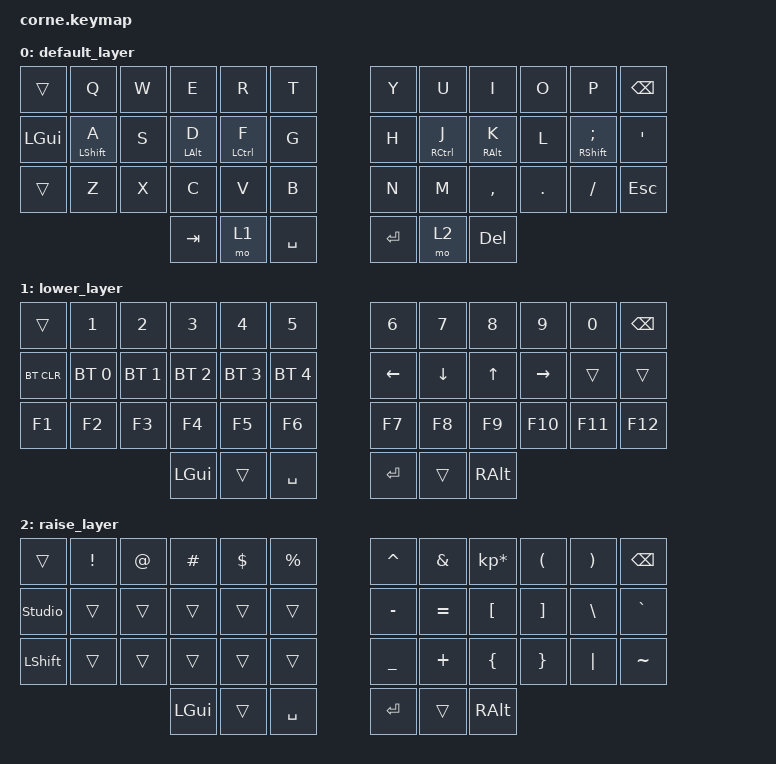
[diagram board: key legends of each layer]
/*
 * Copyright (c) 2020 The ZMK Contributors
 *
 * SPDX-License-Identifier: MIT
 */

#include <behaviors.dtsi>
#include <dt-bindings/zmk/keys.h>
#include <dt-bindings/zmk/bt.h>

/
{
    behaviors {
            hml: home_row_mod_left {
                compatible = "zmk,behavior-hold-tap";
                #binding-cells = <2>;
                flavor = "balanced";
                require-prior-idle-ms = <150>;
                tapping-term-ms = <280>;
                quick-tap-ms = <175>;
                bindings = <&kp>, <&kp>;
                hold-trigger-on-release;
            };
            hmr: home_row_mod_right {
                compatible = "zmk,behavior-hold-tap";
                #binding-cells = <2>;
                flavor = "balanced";
                require-prior-idle-ms = <150>;
                tapping-term-ms = <280>;
                quick-tap-ms = <175>;
                bindings = <&kp>, <&kp>;
                hold-trigger-on-release;
            };
        };
    keymap
    {
        compatible = "zmk,keymap";

        default_layer
        {
            // -----------------------------------------------------------------------------------------
            // |  TAB |  Q  |  W  |  E  |  R  |  T  |   |  Y  |  U   |  I  |  O  |  P  | BKSP |
            // | CTRL |  A  |  S  |  D  |  F  |  G  |   |  H  |  J   |  K  |  L  |  ;  |  '   |
            // | SHFT |  Z  |  X  |  C  |  V  |  B  |   |  N  |  M   |  ,  |  .  |  /  | ESC  |
            //                    | GUI | LWR | SPC |   | ENT | RSE  | ALT |
            bindings = <
                &trans &kp Q &kp W &kp E &kp R &kp T &kp Y &kp U &kp I &kp O &kp P &kp BSPC 
                &kp LGUI &hml LSHIFT A &kp S &hml LALT D &hml LCTRL F &kp G &kp H &hmr RCTRL J &hmr RALT K &kp L &hmr RSHIFT SEMI &kp SQT 
                &trans &kp Z &kp X &kp C &kp V &kp B &kp N &kp M &kp COMMA &kp DOT &kp FSLH &kp ESC 
                &kp TAB &mo 1 &kp SPACE &kp RET &mo 2 &kp DEL>;
        };
        lower_layer
        {
            // -----------------------------------------------------------------------------------------
            // |  TAB |  1  |  2  |  3  |  4  |  5  |   |  6  |  7  |  8  |  9  |  0  | BKSP |
            // | BTCLR| BT1 | BT2 | BT3 | BT4 | BT5 |   | LFT | DWN |  UP | RGT |     |      |
            // | SHFT |     |     |     |     |     |   |     |     |     |     |     |      |
            //                    | GUI |     | SPC |   | ENT |     | ALT |
            bindings = <
                &trans &kp N1 &kp N2 &kp N3 &kp N4 &kp N5 &kp N6 &kp N7 &kp N8 &kp N9 &kp N0 &kp BSPC 
                &bt BT_CLR &bt BT_SEL 0 &bt BT_SEL 1 &bt BT_SEL 2 &bt BT_SEL 3 &bt BT_SEL 4 &kp LEFT &kp DOWN &kp UP &kp RIGHT &trans &trans 
                &kp F1 &kp F2 &kp F3 &kp F4 &kp F5 &kp F6 &kp F7 &kp F8 &kp F9 &kp F10 &kp F11 &kp F12 
                &kp LGUI &trans &kp SPACE &kp RET &trans &kp RALT>;
        };

        raise_layer
        {
            // -----------------------------------------------------------------------------------------
            // |  TAB |  !  |  @  |  #  |  $  |  %  |   |  ^  |  &  |  *  |  (  |  )  | BKSP |
            // | CTRL |     |     |     |     |     |   |  -  |  =  |  [  |  ]  |  \  |  `   |
            // | SHFT |     |     |     |     |     |   |  _  |  +  |  {  |  }  | "|" |  ~   |
            //                    | GUI |     | SPC |   | ENT |     | ALT |
            bindings = <
                &trans &kp EXCL &kp AT &kp HASH &kp DLLR &kp PRCNT &kp CARET &kp AMPS &kp KP_MULTIPLY &kp LPAR &kp RPAR &kp BSPC 
                &studio_unlock &trans &trans &trans &trans &trans &kp MINUS &kp EQUAL &kp LBKT &kp RBKT &kp BSLH &kp GRAVE &kp LSHFT 
                &trans &trans &trans &trans &trans &kp UNDER &kp PLUS &kp LBRC &kp RBRC &kp PIPE &kp TILDE 
                &kp LGUI &trans &kp SPACE &kp RET &trans &kp RALT>;
        };
    };
};
